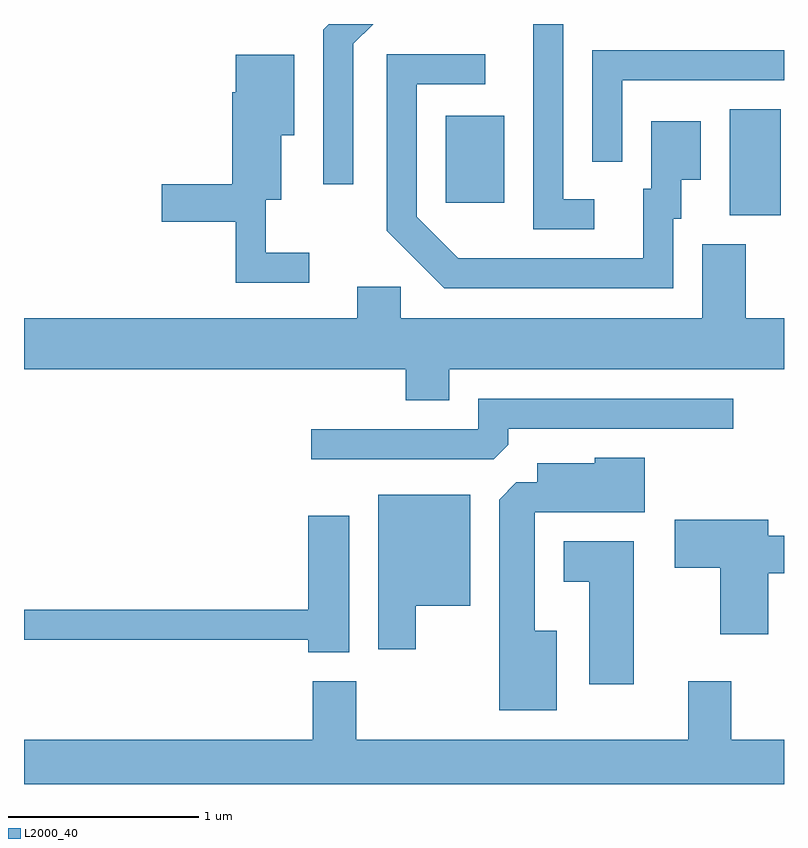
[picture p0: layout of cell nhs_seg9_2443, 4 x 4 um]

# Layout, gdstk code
import gdstk
lib = gdstk.Library(unit=1e-6, precision=1e-09)
def R(c, l, rs):  # rectangles x0, y0, x1, y1
    for r in rs: c.add(gdstk.rectangle(r[:2], r[2:], *l))
def P(c, l, *ps):  # polygons
    for p in ps: c.add(gdstk.Polygon(p, *l))
L2000_40 = (2000, 40)

nhs_seg9_2443 = lib.new_cell('nhs_seg9_2443')
R(nhs_seg9_2443, L2000_40, [(259.326,2081.426,259.594,2081.984), (257.831,2081.491,258.139,2081.949)])
P(nhs_seg9_2443, L2000_40, [(258.613,2081.509),(258.449,2081.509),(258.449,2082.432),(258.291,2082.432),(258.291,2081.351),(258.613,2081.351)],
  [(257.344,2082.329),(257.448,2082.432),(257.216,2082.432),(257.186,2082.402),(257.186,2081.588),(257.344,2081.588)],
  [(258.759,2082.136),(259.611,2082.136),(259.611,2082.294),(258.601,2082.294),(258.601,2081.708),(258.759,2081.708)],
  [(259.029,2081.406),(259.069,2081.406),(259.069,2081.611),(259.174,2081.611),(259.174,2081.919),(258.911,2081.919),(258.911,2081.564),(258.871,2081.564),(258.871,2081.199),(257.897,2081.199),(257.679,2081.417),(257.679,2082.116),(258.038,2082.116),(258.038,2082.274),(257.521,2082.274),(257.521,2081.344),(257.824,2081.041),(259.029,2081.041)],
  [(257.113,2081.229),(256.884,2081.229),(256.884,2081.506),(256.964,2081.506),(256.964,2081.846),(257.034,2081.846),(257.034,2082.269),(256.726,2082.269),(256.726,2082.074),(256.706,2082.074),(256.706,2081.589),(256.336,2081.589),(256.336,2081.391),(256.726,2081.391),(256.726,2081.071),(257.113,2081.071)],
  [(257.849,2080.616),(259.611,2080.616),(259.611,2080.884),(259.409,2080.884),(259.409,2081.274),(259.181,2081.274),(259.181,2080.884),(257.594,2080.884),(257.594,2081.049),(257.366,2081.049),(257.366,2080.884),(255.611,2080.884),(255.611,2080.616),(257.621,2080.616),(257.621,2080.451),(257.849,2080.451)],
  [(258.159,2080.217),(258.159,2080.301),(259.343,2080.301),(259.343,2080.459),(258.001,2080.459),(258.001,2080.299),(257.123,2080.299),(257.123,2080.141),(258.084,2080.141)],
  [(258.414,2079.239),(258.299,2079.239),(258.299,2079.861),(258.879,2079.861),(258.879,2080.149),(258.616,2080.149),(258.616,2080.119),(258.311,2080.119),(258.311,2080.019),(258.202,2080.019),(258.111,2079.929),(258.111,2078.821),(258.414,2078.821)],
  [(257.674,2079.371),(257.959,2079.371),(257.959,2079.954),(257.476,2079.954),(257.476,2079.141),(257.674,2079.141)],
  [(257.324,2079.844),(257.106,2079.844),(257.106,2079.349),(255.611,2079.349),(255.611,2079.191),(257.106,2079.191),(257.106,2079.126),(257.324,2079.126)],
  [(259.529,2079.541),(259.611,2079.541),(259.611,2079.739),(259.529,2079.739),(259.529,2079.824),(259.036,2079.824),(259.036,2079.571),(259.276,2079.571),(259.276,2079.221),(259.529,2079.221)],
  [(258.819,2079.709),(258.451,2079.709),(258.451,2079.496),(258.586,2079.496),(258.586,2078.956),(258.819,2078.956)],
  [(259.611,2078.664),(259.334,2078.664),(259.334,2078.974),(259.106,2078.974),(259.106,2078.664),(257.359,2078.664),(257.359,2078.974),(257.131,2078.974),(257.131,2078.664),(255.611,2078.664),(255.611,2078.432),(259.611,2078.432)])

lib.write_gds('nhs_seg9_2443.gds')
